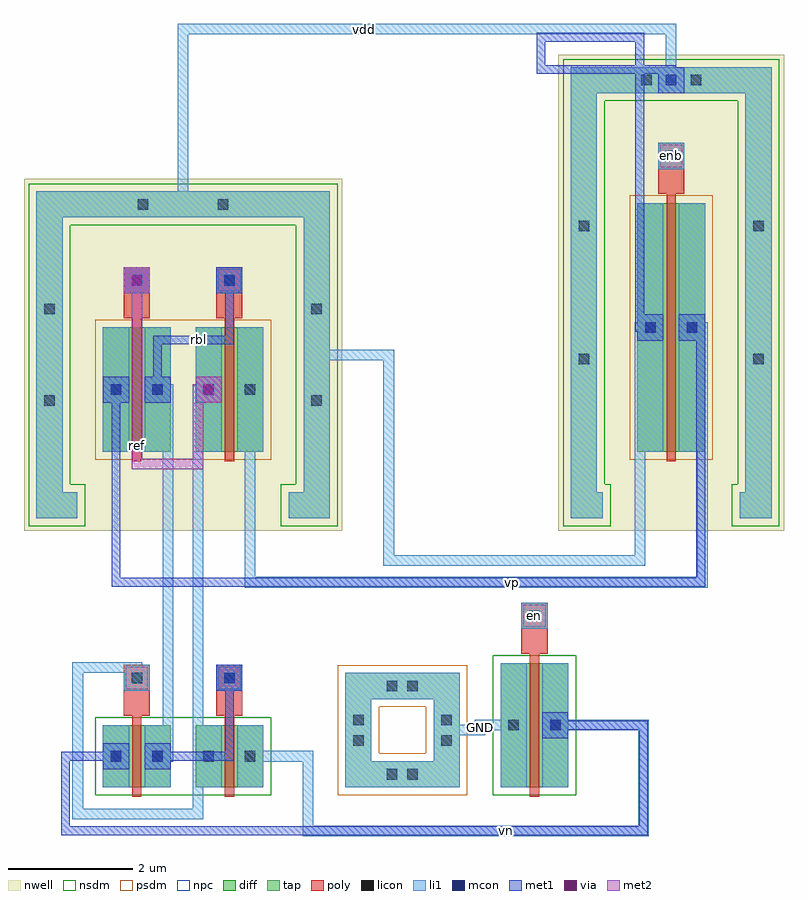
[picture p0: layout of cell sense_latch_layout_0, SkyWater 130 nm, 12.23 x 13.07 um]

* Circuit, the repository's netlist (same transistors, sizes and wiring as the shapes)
* sense_latch.spice -- sense-latch netlist (latch + footer/header), derived (issue #109).
* Regenerate with: ./design/regen_netlist.sh (requires PDK_ROOT/PDK, see
* design/README.md). --check verifies this file is not stale relative to
* a fresh regeneration from design/sense_latch.sch -- staleness is failure.
*
* Provenance: sha256 of the source schematic this netlist derives from
* (reproduce with: sha256sum design/sense_latch.sch). This is the
* file-content hash, not a git commit reference, so it stays meaningful
* in a shallow clone and does not drift when an unrelated commit
* elsewhere touches HEAD.
*   design/sense_latch.sch: sha256:73732b9391242c0bc8676376c6bbdb33d37a0ca9ac438f12ea106d83d5976e54
*
* Every device instance below is one of {sky130_fd_pr__nfet_01v8, sky130_fd_pr__pfet_01v8} --
* mechanically by this script, not by review alone.
** sch_path: design/sense_latch.sch
**.subckt sense_latch rbl ref en enb vdd
*.iopin rbl
*.iopin ref
*.ipin en
*.ipin enb
*.iopin vdd
XMN1 rbl ref vn GND sky130_fd_pr__nfet_01v8 L=0.15 W=1 nf=1 ad=0.29 as=0.29 pd=2.58 ps=2.58 nrd=0.29
+ nrs=0.29 sa=0 sb=0 sd=0 mult=1 m=1
XMN2 ref rbl vn GND sky130_fd_pr__nfet_01v8 L=0.15 W=1 nf=1 ad=0.29 as=0.29 pd=2.58 ps=2.58 nrd=0.29
+ nrs=0.29 sa=0 sb=0 sd=0 mult=1 m=1
XMP1 rbl ref vp vdd sky130_fd_pr__pfet_01v8 L=0.15 W=2 nf=1 ad=0.58 as=0.58 pd=4.58 ps=4.58 nrd=0.145
+ nrs=0.145 sa=0 sb=0 sd=0 mult=1 m=1
XMP2 ref rbl vp vdd sky130_fd_pr__pfet_01v8 L=0.15 W=2 nf=1 ad=0.58 as=0.58 pd=4.58 ps=4.58 nrd=0.145
+ nrs=0.145 sa=0 sb=0 sd=0 mult=1 m=1
XMNF vn en GND GND sky130_fd_pr__nfet_01v8 L=0.15 W=2 nf=1 ad=0.58 as=0.58 pd=4.58 ps=4.58 nrd=0.145
+ nrs=0.145 sa=0 sb=0 sd=0 mult=1 m=1
XMPH vp enb vdd vdd sky130_fd_pr__pfet_01v8 L=0.15 W=4 nf=1 ad=1.16 as=1.16 pd=8.58 ps=8.58 nrd=0.0725
+ nrs=0.0725 sa=0 sb=0 sd=0 mult=1 m=1
**.ends
.GLOBAL GND
.end

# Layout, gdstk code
import gdstk
lib = gdstk.Library(unit=1e-6, precision=1e-09)
def R(c, l, rs):  # rectangles x0, y0, x1, y1
    for r in rs: c.add(gdstk.rectangle(r[:2], r[2:], *l))
def P(c, l, *ps):  # polygons
    for p in ps: c.add(gdstk.Polygon(p, *l))
nwell = (64, 20)
diff = (65, 20)
tap = (65, 44)
poly = (66, 20)
licon = (66, 44)
li1 = (67, 20)
mcon = (67, 44)
met1 = (68, 20)
via = (68, 44)
met2 = (69, 20)
nsdm = (93, 44)
psdm = (94, 20)
npc = (95, 20)

mos_array = lib.new_cell('mos_array')
R(mos_array, diff, [(0,0,1.09,1), (1.49,0,2.58,1)])
R(mos_array, poly, [(0.47,-0.15,0.62,1), (1.96,-0.15,2.11,1), (0.47,1,0.62,1.15), (0.47,1,0.62,1.15), (1.96,1,2.11,1.15), (1.96,1,2.11,1.15), (0.335,1.15,0.755,1.97), (1.825,1.15,2.245,1.97)])
R(mos_array, licon, [(0.125,0.415,0.295,0.585), (0.795,0.415,0.965,0.585), (1.615,0.415,1.785,0.585), (2.285,0.415,2.455,0.585), (0.46,1.675,0.63,1.845), (1.95,1.675,2.12,1.845)])
R(mos_array, li1, [(0,0,0.42,1), (0.67,0,1.09,1), (1.49,0,1.91,1), (2.16,0,2.58,1), (0.335,1.55,0.755,1.97), (1.825,1.55,2.245,1.97)])
R(mos_array, nsdm, [(-0.125,-0.125,2.705,1.125)])
R(mos_array, npc, [(0.365,1.58,0.725,1.94), (1.855,1.58,2.215,1.94)])

npair__sense_latch_npair = lib.new_cell('npair__sense_latch_npair')
npair__sense_latch_npair.add(gdstk.Reference(mos_array, (0,0)))

mos_array_1 = lib.new_cell('mos_array$1')
R(mos_array_1, nwell, [(-1.27,-1.27,3.85,4.39), (-0.15,-0.15,2.73,3.27)])
R(mos_array_1, diff, [(0,0,1.09,2), (1.49,0,2.58,2)])
P(mos_array_1, tap, [(-1.07,-1.07),(-1.07,4.19),(3.65,4.19),(3.65,-1.07),(2.99,-1.07),(2.99,-0.65),(3.23,-0.65),(3.23,3.77),(-0.65,3.77),(-0.65,-0.65),(-0.41,-0.65),(-0.41,-1.07)])
R(mos_array_1, poly, [(0.47,-0.15,0.62,2), (1.96,-0.15,2.11,2), (0.47,2,0.62,2.15), (0.47,2,0.62,2.15), (1.96,2,2.11,2.15), (1.96,2,2.11,2.15), (0.335,2.15,0.755,2.97), (1.825,2.15,2.245,2.97)])
R(mos_array_1, licon, [(-0.945,0.74,-0.775,0.91), (3.355,0.74,3.525,0.91), (0.125,0.915,0.295,1.085), (0.795,0.915,0.965,1.085), (1.615,0.915,1.785,1.085), (2.285,0.915,2.455,1.085), (-0.945,2.21,-0.775,2.38), (3.355,2.21,3.525,2.38), (0.46,2.675,0.63,2.845), (1.95,2.675,2.12,2.845), (0.56,3.895,0.73,4.065), (1.85,3.895,2.02,4.065)])
R(mos_array_1, li1, [(0,0,0.42,2), (0.67,0,1.09,2), (1.49,0,1.91,2), (2.16,0,2.58,2), (0.335,2.55,0.755,2.97), (1.825,2.55,2.245,2.97)])
P(mos_array_1, li1, [(-1.07,-1.07),(-1.07,4.19),(3.65,4.19),(3.65,-1.07),(2.99,-1.07),(2.99,-0.65),(3.23,-0.65),(3.23,3.77),(-0.65,3.77),(-0.65,-0.65),(-0.41,-0.65),(-0.41,-1.07)])
P(mos_array_1, nsdm, [(-1.195,-1.195),(-1.195,4.315),(3.775,4.315),(3.775,-1.195),(2.865,-1.195),(2.865,-0.525),(3.105,-0.525),(3.105,3.645),(-0.525,3.645),(-0.525,-0.525),(-0.285,-0.525),(-0.285,-1.195)])
R(mos_array_1, psdm, [(-0.125,-0.125,2.705,2.125)])
R(mos_array_1, npc, [(0.365,2.58,0.725,2.94), (1.855,2.58,2.215,2.94)])

ppair__sense_latch_ppair = lib.new_cell('ppair__sense_latch_ppair')
ppair__sense_latch_ppair.add(gdstk.Reference(mos_array_1, (0,0)))

guard_ring = lib.new_cell('guard_ring')
P(guard_ring, tap, [(0,0),(0,1.42),(0.42,1.42),(0.42,0.42),(1.42,0.42),(1.42,1.42),(0,1.42),(0,1.84),(1.84,1.84),(1.84,0)])
R(guard_ring, licon, [(0.67,0.125,0.84,0.295), (1,0.125,1.17,0.295), (0.125,0.67,0.295,0.84), (1.545,0.67,1.715,0.84), (0.125,1,0.295,1.17), (1.545,1,1.715,1.17), (0.67,1.545,0.84,1.715), (1,1.545,1.17,1.715)])
P(guard_ring, li1, [(0,0),(0,1.42),(0.42,1.42),(0.42,0.42),(1.42,0.42),(1.42,1.42),(0,1.42),(0,1.84),(1.84,1.84),(1.84,0)])
P(guard_ring, psdm, [(-0.125,-0.125),(-0.125,1.295),(0.545,1.295),(0.545,0.545),(1.295,0.545),(1.295,1.295),(-0.125,1.295),(-0.125,1.965),(1.965,1.965),(1.965,-0.125)])

ptap__sense_latch_ptap = lib.new_cell('ptap__sense_latch_ptap')
ptap__sense_latch_ptap.add(gdstk.Reference(guard_ring, (0,0)))

mos_array_2 = lib.new_cell('mos_array$2')
R(mos_array_2, diff, [(0,0,1.09,2)])
R(mos_array_2, poly, [(0.47,-0.15,0.62,2), (0.47,2,0.62,2.15), (0.47,2,0.62,2.15), (0.335,2.15,0.755,2.97)])
R(mos_array_2, licon, [(0.125,0.915,0.295,1.085), (0.795,0.915,0.965,1.085), (0.46,2.675,0.63,2.845)])
R(mos_array_2, li1, [(0,0,0.42,2), (0.67,0,1.09,2), (0.335,2.55,0.755,2.97)])
R(mos_array_2, nsdm, [(-0.125,-0.125,1.215,2.125)])
R(mos_array_2, npc, [(0.365,2.58,0.725,2.94)])

footer__sense_latch_foot = lib.new_cell('footer__sense_latch_footer')
footer__sense_latch_foot.add(gdstk.Reference(mos_array_2, (0,0)))

mos_array_3 = lib.new_cell('mos_array$3')
R(mos_array_3, nwell, [(-1.27,-1.27,2.36,6.39), (-0.15,-0.15,1.24,5.27)])
R(mos_array_3, diff, [(0,0,1.09,4)])
P(mos_array_3, tap, [(-1.07,-1.07),(-1.07,6.19),(2.16,6.19),(2.16,-1.07),(1.645,-1.07),(1.645,-0.65),(1.74,-0.65),(1.74,5.77),(-0.65,5.77),(-0.65,-0.65),(-0.555,-0.65),(-0.555,-1.07)])
R(mos_array_3, poly, [(0.47,-0.15,0.62,4), (0.47,4,0.62,4.15), (0.47,4,0.62,4.15), (0.335,4.15,0.755,4.97)])
R(mos_array_3, licon, [(-0.945,1.405,-0.775,1.575), (1.865,1.405,2.035,1.575), (0.125,1.915,0.295,2.085), (0.795,1.915,0.965,2.085), (-0.945,3.545,-0.775,3.715), (1.865,3.545,2.035,3.715), (0.46,4.675,0.63,4.845), (0.06,5.895,0.23,6.065), (0.86,5.895,1.03,6.065)])
R(mos_array_3, li1, [(0,0,0.42,4), (0.67,0,1.09,4), (0.335,4.55,0.755,4.97)])
P(mos_array_3, li1, [(-1.07,-1.07),(-1.07,6.19),(2.16,6.19),(2.16,-1.07),(1.645,-1.07),(1.645,-0.65),(1.74,-0.65),(1.74,5.77),(-0.65,5.77),(-0.65,-0.65),(-0.555,-0.65),(-0.555,-1.07)])
P(mos_array_3, nsdm, [(-1.195,-1.195),(-1.195,6.315),(2.285,6.315),(2.285,-1.195),(1.52,-1.195),(1.52,-0.525),(1.615,-0.525),(1.615,5.645),(-0.525,5.645),(-0.525,-0.525),(-0.43,-0.525),(-0.43,-1.195)])
R(mos_array_3, psdm, [(-0.125,-0.125,1.215,4.125)])
R(mos_array_3, npc, [(0.365,4.58,0.725,4.94)])

header__sense_latch_head = lib.new_cell('header__sense_latch_header')
header__sense_latch_head.add(gdstk.Reference(mos_array_3, (0,0)))

sense_latch_layout_0 = lib.new_cell('sense_latch_layout_0')
R(sense_latch_layout_0, li1, [(0,0.29,0.42,0.71), (0.67,0.29,1.09,0.71), (7.07,0.79,7.49,1.21), (1.825,1.55,2.245,1.97), (0.335,1.76,0.755,1.93), (0,6.19,0.42,6.61), (0.67,6.19,1.09,6.61), (1.49,6.19,1.91,6.61), (8.6,7.19,9.02,7.61), (9.27,7.19,9.69,7.61), (0.335,7.95,0.755,8.37), (1.825,7.95,2.245,8.37), (1.08,9.38,1.5,9.55), (8.935,11.17,9.355,11.59), (8.935,11.38,9.355,11.55)])
R(sense_latch_layout_0, mcon, [(0.125,0.415,0.295,0.585), (0.795,0.415,0.965,0.585), (7.195,0.915,7.365,1.085), (1.95,1.675,2.12,1.845), (0.125,6.315,0.295,6.485), (0.795,6.315,0.965,6.485), (1.615,6.315,1.785,6.485), (8.725,7.315,8.895,7.485), (9.395,7.315,9.565,7.485), (0.46,8.075,0.63,8.245), (1.95,8.075,2.12,8.245), (9.06,11.295,9.23,11.465)])
R(sense_latch_layout_0, met1, [(0,0.29,0.42,0.71), (0.67,0.29,1.09,0.71), (7.07,0.79,7.49,1.21), (1.825,1.55,2.245,1.97), (0,6.19,0.42,6.61), (0.67,6.19,1.09,6.61), (1.49,6.19,1.91,6.61), (1.49,6.19,1.91,6.61), (8.6,7.19,9.02,7.61), (9.27,7.19,9.69,7.61), (0.335,7.95,0.755,8.37), (0.335,7.95,0.755,8.37), (1.825,7.95,2.245,8.37), (8.935,11.17,9.355,11.59)])
R(sense_latch_layout_0, via, [(1.625,6.325,1.775,6.475), (0.47,8.085,0.62,8.235)])
R(sense_latch_layout_0, met2, [(1.49,6.19,1.91,6.61), (0.335,7.95,0.755,8.37)])
sense_latch_layout_0.add(gdstk.FlexPath([(0.88,0.5),(1.05,0.5),(1.05,6.4),(0.88,6.4)], 0.17, ends="flush", simple_path=True, layer=67, datatype=20))  # li1
sense_latch_layout_0.add(gdstk.FlexPath([(0.545,1.76),(0.545,1.93),(-0.405,1.93),(-0.405,-0.43),(1.53,-0.43),(1.53,0.5),(1.7,0.5)], 0.17, ends="flush", simple_path=True, layer=67, datatype=20))  # li1
sense_latch_layout_0.add(gdstk.FlexPath([(1.7,0.5),(1.53,0.5),(1.53,6.4),(1.7,6.4)], 0.17, ends="flush", simple_path=True, layer=67, datatype=20))  # li1
sense_latch_layout_0.add(gdstk.FlexPath([(2.37,0.5),(3.3,0.5),(3.3,-0.7),(8.7,-0.7),(8.7,1),(7.28,1)], 0.17, ends="flush", simple_path=True, layer=67, datatype=20))  # li1
sense_latch_layout_0.add(gdstk.FlexPath([(2.37,6.4),(2.37,3.3),(9.65,3.3),(9.65,7.4),(9.48,7.4)], 0.17, ends="flush", simple_path=True, layer=67, datatype=20))  # li1
sense_latch_layout_0.add(gdstk.FlexPath([(5.53,0.92),(6.07,0.92),(6.07,1),(6.61,1)], 0.17, ends="flush", simple_path=True, layer=67, datatype=20))  # li1
sense_latch_layout_0.add(gdstk.FlexPath([(1.29,9.38),(1.29,12.2),(9.145,12.2),(9.145,11.38)], 0.17, ends="flush", simple_path=True, layer=67, datatype=20))  # li1
sense_latch_layout_0.add(gdstk.FlexPath([(3.44,6.96),(4.6,6.96),(4.6,3.65),(8.64,3.65),(8.64,7.4),(8.81,7.4)], 0.17, ends="flush", simple_path=True, layer=67, datatype=20))  # li1
sense_latch_layout_0.add(gdstk.FlexPath([(0.88,6.4),(0.88,7.2),(2.035,7.2),(2.035,8.16)], 0.14, ends="flush", simple_path=True, layer=68, datatype=20))  # met1
sense_latch_layout_0.add(gdstk.FlexPath([(0.88,0.5),(2.035,0.5),(2.035,1.76)], 0.14, ends="flush", simple_path=True, layer=68, datatype=20))  # met1
sense_latch_layout_0.add(gdstk.FlexPath([(0.21,0.5),(-0.6,0.5),(-0.6,-0.7),(8.7,-0.7),(8.7,1),(7.28,1)], 0.14, ends="flush", simple_path=True, layer=68, datatype=20))  # met1
sense_latch_layout_0.add(gdstk.FlexPath([(0.21,6.4),(0.21,3.3),(9.62,3.3),(9.62,7.4),(9.48,7.4)], 0.14, ends="flush", simple_path=True, layer=68, datatype=20))  # met1
sense_latch_layout_0.add(gdstk.FlexPath([(9.145,11.38),(9.145,11.55),(7.05,11.55),(7.05,12.07),(8.64,12.07),(8.64,7.4),(8.81,7.4)], 0.14, ends="flush", simple_path=True, layer=68, datatype=20))  # met1
sense_latch_layout_0.add(gdstk.FlexPath([(0.545,8.16),(0.545,5.2),(1.53,5.2),(1.53,6.4),(1.7,6.4)], 0.17, ends="flush", simple_path=True, layer=69, datatype=20))  # met2
sense_latch_layout_0.add(gdstk.Reference(npair__sense_latch_npair, (0,0)))
sense_latch_layout_0.add(gdstk.Reference(ppair__sense_latch_ppair, (0,5.4)))
sense_latch_layout_0.add(gdstk.Reference(ptap__sense_latch_ptap, (3.9,0)))
sense_latch_layout_0.add(gdstk.Reference(footer__sense_latch_foot, (6.4,0)))
sense_latch_layout_0.add(gdstk.Reference(header__sense_latch_head, (8.6,5.4)))
sense_latch_layout_0.add(gdstk.Label('rbl', (1.538,7.2), layer=68, texttype=5))
sense_latch_layout_0.add(gdstk.Label('ref', (0.545,5.502), layer=69, texttype=5))
sense_latch_layout_0.add(gdstk.Label('vn', (6.495,-0.7), layer=67, texttype=5))
sense_latch_layout_0.add(gdstk.Label('vp', (6.595,3.3), layer=67, texttype=5))
sense_latch_layout_0.add(gdstk.Label('GND', (6.07,0.96), layer=67, texttype=5))
sense_latch_layout_0.add(gdstk.Label('vdd', (4.217,12.2), layer=67, texttype=5))
sense_latch_layout_0.add(gdstk.Label('en', (6.945,2.76), layer=67, texttype=5))
sense_latch_layout_0.add(gdstk.Label('enb', (9.145,10.16), layer=67, texttype=5))

lib.write_gds('sense_latch_layout_0.gds')
